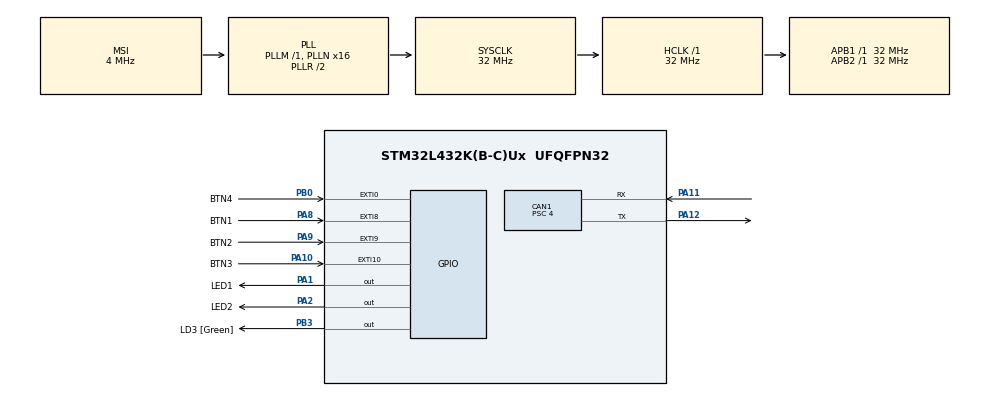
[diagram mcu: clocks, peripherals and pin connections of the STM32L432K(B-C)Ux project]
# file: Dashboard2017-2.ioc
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CAN1.ABOM=ENABLE
CAN1.BS1=CAN_BS1_9TQ
CAN1.BS2=CAN_BS2_6TQ
CAN1.CalculateTimeBit=2000
CAN1.CalculateTimeQuantum=125.0
CAN1.Prescaler=4
FREERTOS.Tasks01=defaultTask,0,128,StartDefaultTask,Default,NULL
Mcu.Family=STM32L4
Mcu.Name=STM32L432K(B-C)Ux
Mcu.Package=UFQFPN32
NVIC.CAN1_RX0_IRQn=true\:5\:0\:false\:false\:true\:true
NVIC.CAN1_RX1_IRQn=true\:5\:0\:false\:false\:true\:true
NVIC.CAN1_TX_IRQn=true\:5\:0\:false\:false\:true\:true
NVIC.EXTI0_IRQn=true\:5\:0\:false\:false\:true\:true
NVIC.EXTI15_10_IRQn=true\:5\:0\:false\:false\:true\:true
NVIC.EXTI9_5_IRQn=true\:5\:0\:false\:false\:true\:true
NVIC.PriorityGroup=NVIC_PRIORITYGROUP_4
NVIC.TIM1_UP_TIM16_IRQn=true\:0\:0\:false\:false\:true\:false
NVIC.TimeBase=TIM1_UP_TIM16_IRQn
NVIC.TimeBaseIP=TIM1
PA0.GPIO_Label=MCO [High speed clock in]
PA0.Signal=RCC_CK_IN
PA1.GPIO_Label=LED1
PA1.Signal=GPIO_Output
PA10.GPIO_Label=BTN3
PA10.Signal=GPXTI10
PA11.Mode=Master
PA11.Signal=CAN1_RX
PA12.Mode=Master
PA12.Signal=CAN1_TX
PA13\ (JTMS-SWDIO).GPIO_Label=SWDIO
PA13\ (JTMS-SWDIO).Mode=Serial_Wire
PA13\ (JTMS-SWDIO).Signal=SYS_JTMS-SWDIO
PA14\ (JTCK-SWCLK).GPIO_Label=SWCLK
PA14\ (JTCK-SWCLK).Mode=Serial_Wire
PA14\ (JTCK-SWCLK).Signal=SYS_JTCK-SWCLK
PA15\ (JTDI).GPIO_Label=VCP_RX
PA15\ (JTDI).Signal=USART2_RX
PA2.GPIO_Label=LED2
PA2.Signal=GPIO_Output
PA8.GPIO_Label=BTN1
PA8.Signal=GPXTI8
PA9.GPIO_Label=BTN2
PA9.Signal=GPXTI9
PB0.GPIO_Label=BTN4
PB0.Signal=GPXTI0
PB3\ (JTDO-TRACESWO).GPIO_Label=LD3 [Green]
PB3\ (JTDO-TRACESWO).Signal=GPIO_Output
PC14-OSC32_IN\ (PC14).Signal=RCC_OSC32_IN
PC15-OSC32_OUT\ (PC15).Signal=RCC_OSC32_OUT
ProjectManager.HeapSize=0x2000
ProjectManager.StackSize=0x4000
ProjectManager.TargetToolchain=SW4STM32
RCC.ADCFreq_Value=64000000
RCC.AHBFreq_Value=32000000
RCC.APB1Freq_Value=32000000
RCC.APB1TimFreq_Value=32000000
RCC.APB2Freq_Value=32000000
RCC.APB2TimFreq_Value=32000000
RCC.CortexFreq_Value=32000000
RCC.HCLKFreq_Value=32000000
RCC.HSE_VALUE=8000000
RCC.HSI16_VALUE=16000000
RCC.HSI48_VALUE=48000000
RCC.HSI_VALUE=16000000
RCC.LSE_VALUE=32768
RCC.MSI_VALUE=4000000
RCC.PLLMUL=RCC_PLLMUL_4
RCC.PLLN=16
RCC.PLLR=RCC_PLLR_DIV8
RCC.PLLSourceVirtual=RCC_PLLSOURCE_HSI
RCC.SYSCLKFreq_VALUE=32000000
RCC.SYSCLKSource=RCC_SYSCLKSOURCE_PLLCLK
RCC.USBFreq_Value=64000000
RCC.VCOOutputFreq_Value=256000000
VP_FREERTOS_VS_ENABLE.Mode=Enabled
VP_SYS_VS_tim1.Mode=TIM1
board=NUCLEO-L432KC

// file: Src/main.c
/**
  ******************************************************************************
  * File Name          : main.c
  * Description        : Main program body
  ******************************************************************************
  * This notice applies to any and all portions of this file
  * that are not between comment pairs USER CODE BEGIN and
  * USER CODE END. Other portions of this file, whether
  * inserted by the user or by software development tools
  * are owned by their respective copyright owners.
  *
  * Copyright (c) 2017 STMicroelectronics International N.V.
  * All rights reserved.
  *
  * Redistribution and use in source and binary forms, with or without
  * modification, are permitted, provided that the following conditions are met:
  *
  * 1. Redistribution of source code must retain the above copyright notice,
  *    this list of conditions and the following disclaimer.
  * 2. Redistributions in binary form must reproduce the above copyright notice,
  *    this list of conditions and the following disclaimer in the documentation
  *    and/or other materials provided with the distribution.
  * 3. Neither the name of STMicroelectronics nor the names of other
  *    contributors to this software may be used to endorse or promote products
  *    derived from this software without specific written permission.
  * 4. This software, including modifications and/or derivative works of this
  *    software, must execute solely and exclusively on microcontroller or
  *    microprocessor devices manufactured by or for STMicroelectronics.
  * 5. Redistribution and use of this software other than as permitted under
  *    this license is void and will automatically terminate your rights under
  *    this license.
  *
  * THIS SOFTWARE IS PROVIDED BY STMICROELECTRONICS AND CONTRIBUTORS "AS IS"
  * AND ANY EXPRESS, IMPLIED OR STATUTORY WARRANTIES, INCLUDING, BUT NOT
  * LIMITED TO, THE IMPLIED WARRANTIES OF MERCHANTABILITY, FITNESS FOR A
  * PARTICULAR PURPOSE AND NON-INFRINGEMENT OF THIRD PARTY INTELLECTUAL PROPERTY
  * RIGHTS ARE DISCLAIMED TO THE FULLEST EXTENT PERMITTED BY LAW. IN NO EVENT
  * SHALL STMICROELECTRONICS OR CONTRIBUTORS BE LIABLE FOR ANY DIRECT, INDIRECT,
  * INCIDENTAL, SPECIAL, EXEMPLARY, OR CONSEQUENTIAL DAMAGES (INCLUDING, BUT NOT
  * LIMITED TO, PROCUREMENT OF SUBSTITUTE GOODS OR SERVICES; LOSS OF USE, DATA,
  * OR PROFITS; OR BUSINESS INTERRUPTION) HOWEVER CAUSED AND ON ANY THEORY OF
  * LIABILITY, WHETHER IN CONTRACT, STRICT LIABILITY, OR TORT (INCLUDING
  * NEGLIGENCE OR OTHERWISE) ARISING IN ANY WAY OUT OF THE USE OF THIS SOFTWARE,
  * EVEN IF ADVISED OF THE POSSIBILITY OF SUCH DAMAGE.
  *
  ******************************************************************************
  */
#include "main.h"
#include "stm32l4xx_hal.h"
#include "cmsis_os.h"

CAN_HandleTypeDef hcan1;

osThreadId defaultTaskHandle;

/* USER CODE BEGIN PV */
/* Private variables ---------------------------------------------------------*/
QueueHandle_t q_txcan;
QueueHandle_t q_rxcan;
SemaphoreHandle_t m_CAN;
/* USER CODE END PV */

void SystemClock_Config(void);
static void MX_GPIO_Init(void);
static void MX_CAN1_Init(void);
void StartDefaultTask(void const * argument);

/* USER CODE BEGIN PFP */
/* Private function prototypes -----------------------------------------------*/

/* USER CODE END PFP */

/* USER CODE BEGIN 0 */
int i;
void taskTest()
{
	for(;;) {
		i ++;
	}
}

void CANFilterConfig()
{

	  CAN_FilterConfTypeDef FilterConf;
	  FilterConf.FilterIdHigh = 	0x205 << 5; // 2
	  FilterConf.FilterIdLow = 		0x200 << 5; // 0
	  FilterConf.FilterMaskIdHigh = 0; //3
	  FilterConf.FilterMaskIdLow = 	0;	//1
	  FilterConf.FilterFIFOAssignment = CAN_FilterFIFO0;
	  FilterConf.FilterNumber = 0;
	  FilterConf.FilterMode = CAN_FILTERMODE_IDMASK;
	  FilterConf.FilterScale = CAN_FILTERSCALE_16BIT;
	  FilterConf.FilterActivation = ENABLE;
	  HAL_CAN_ConfigFilter(&hcan1, &FilterConf);

}

void taskBlink(void* can)
{
	//vTaskDelay(5000); //TESTING1
	while (1)
	{
		CanTxMsgTypeDef tx;
		tx.IDE = CAN_ID_STD;
		tx.RTR = CAN_RTR_DATA;
		tx.StdId = 0x600;
		tx.DLC = 1;
		tx.Data[0] = 1;

		//hcan1.pTxMsg = &tx;
		//HAL_CAN_Transmit_IT(&hcan1);						//transmit staged message

		xQueueSendToBack(q_txcan, &tx, 100);
		vTaskDelay(500);
	}
}

void taskTXCAN()
{
	CanTxMsgTypeDef tx;

	for (;;)
	{
		//check if this task is triggered
		if (xQueuePeek(q_txcan, &tx, portMAX_DELAY) == pdTRUE)
		{
			//check if CAN mutex is available
			if (xSemaphoreTake(m_CAN, 50) == pdTRUE)
			{
				//HAL_CAN_StateTypeDef state = HAL_CAN_GetState(car.phcan);
				//if (state != HAL_CAN_STATE_ERROR)
				{
					xQueueReceive(q_txcan, &tx, portMAX_DELAY);  //actually take item out of queue
					//if (HAL_CAN_GetState(&hcan1) == HAL_CAN_STATE_READY)

					{
						hcan1.pTxMsg = &tx;
						HAL_CAN_Transmit(&hcan1,100);
					}

				}
				xSemaphoreGive(m_CAN);  //release CAN mutex
			}

		}
	}
}

void taskRXCAN()
{
	//CanRxMsgTypeDef rx;
	//car.phcan->pRxMsg = &rx;
	for (;;)
	{

		//check if CAN mutex is available
		//if (xSemaphoreTake(car.m_CAN, 10) == pdTRUE )

		//	xSemaphoreGive(car.m_CAN);  //release CAN mutex

		vTaskSuspend(NULL);
	}
}

void taskRXCANProcess()
{
	CanRxMsgTypeDef rx;  //CanRxMsgTypeDef to be received on the queue
	rx.IDE = CAN_ID_STD;	//test
	while (1)
	{

		//if there is a CanRxMsgTypeDef in the queue, pop it, and store in rx
		if (xQueueReceive(q_rxcan, &rx, portMAX_DELAY) == pdTRUE)
		{
			//A CAN message has been recieved
			//rx.StdId = rx.StdId / 0x100000; test
			//check what kind of message we received
			switch (rx.StdId)
			{
				case 0x200:  //if car status message
				{
					if (rx.Data[0] == 1) //car is in ready to drive
					{
						HAL_GPIO_WritePin(LED2_GPIO_Port, LED2_Pin, GPIO_PIN_RESET);
					}
					else if (rx.Data[0] == 0) //car is not ready to drive
					{
						HAL_GPIO_WritePin(LED2_GPIO_Port, LED2_Pin, GPIO_PIN_SET);
					}
					break;
				}
			}
		}
	}
}
/* USER CODE END 0 */

int main(void)
{

  /* MCU Configuration----------------------------------------------------------*/

  /* Reset of all peripherals, Initializes the Flash interface and the Systick. */
  HAL_Init();

  /* Configure the system clock */
  SystemClock_Config();

  /* Initialize all configured peripherals */
  MX_GPIO_Init();
  MX_CAN1_Init();

  /* USER CODE BEGIN 2 */
  CANFilterConfig();
  m_CAN =			xSemaphoreCreateMutex();
  q_txcan = 		xQueueCreate(3, sizeof(CanTxMsgTypeDef));
  q_rxcan = 		xQueueCreate(3, sizeof(CanRxMsgTypeDef));
  xTaskCreate(taskTXCAN, "TX CAN", 128, NULL, 1, NULL);
  //xTaskCreate(taskRXCAN, "RX CAN", 32, NULL, 1, NULL);
  //xTaskCreate(taskRXCANProcess, "TX CAN Process", 64, NULL, 1, NULL);
  xTaskCreate(taskBlink, "Blink CAN", 64, NULL, 1, NULL);

	HAL_GPIO_WritePin(LED1_GPIO_Port, LED1_Pin, GPIO_PIN_RESET);
	HAL_GPIO_WritePin(LED2_GPIO_Port, LED2_Pin, GPIO_PIN_SET);

	//HAL_CAN_Receive_IT(&hcan1, 0);
	//HAL_CAN_Receive_IT(&hcan1, 1);

  /* USER CODE END 2 */

  /* Create the thread(s) */
  /* definition and creation of defaultTask */
  osThreadDef(defaultTask, StartDefaultTask, osPriorityNormal, 0, 128);
  defaultTaskHandle = osThreadCreate(osThread(defaultTask), NULL);

  /* Start scheduler */
  osKernelStart();

  /* We should never get here as control is now taken by the scheduler */

  /* Infinite loop */
  while (1)
  {

  }

}

/** System Clock Configuration
*/
void SystemClock_Config(void)
{

  RCC_OscInitTypeDef RCC_OscInitStruct;
  RCC_ClkInitTypeDef RCC_ClkInitStruct;

    /**Initializes the CPU, AHB and APB busses clocks
    */
  RCC_OscInitStruct.OscillatorType = RCC_OSCILLATORTYPE_MSI;
  RCC_OscInitStruct.MSIState = RCC_MSI_ON;
  RCC_OscInitStruct.MSICalibrationValue = 0;
  RCC_OscInitStruct.MSIClockRange = RCC_MSIRANGE_6;
  RCC_OscInitStruct.PLL.PLLState = RCC_PLL_ON;
  RCC_OscInitStruct.PLL.PLLSource = RCC_PLLSOURCE_MSI;
  RCC_OscInitStruct.PLL.PLLM = 1;
  RCC_OscInitStruct.PLL.PLLN = 16;
  RCC_OscInitStruct.PLL.PLLP = RCC_PLLP_DIV7;
  RCC_OscInitStruct.PLL.PLLQ = RCC_PLLQ_DIV2;
  RCC_OscInitStruct.PLL.PLLR = RCC_PLLR_DIV2;
  if (HAL_RCC_OscConfig(&RCC_OscInitStruct) != HAL_OK)
  {
    _Error_Handler(__FILE__, __LINE__);
  }

    /**Initializes the CPU, AHB and APB busses clocks
    */
  RCC_ClkInitStruct.ClockType = RCC_CLOCKTYPE_HCLK|RCC_CLOCKTYPE_SYSCLK
                              |RCC_CLOCKTYPE_PCLK1|RCC_CLOCKTYPE_PCLK2;
  RCC_ClkInitStruct.SYSCLKSource = RCC_SYSCLKSOURCE_PLLCLK;
  RCC_ClkInitStruct.AHBCLKDivider = RCC_SYSCLK_DIV1;
  RCC_ClkInitStruct.APB1CLKDivider = RCC_HCLK_DIV1;
  RCC_ClkInitStruct.APB2CLKDivider = RCC_HCLK_DIV1;

  if (HAL_RCC_ClockConfig(&RCC_ClkInitStruct, FLASH_LATENCY_1) != HAL_OK)
  {
    _Error_Handler(__FILE__, __LINE__);
  }

    /**Configure the main internal regulator output voltage
    */
  if (HAL_PWREx_ControlVoltageScaling(PWR_REGULATOR_VOLTAGE_SCALE1) != HAL_OK)
  {
    _Error_Handler(__FILE__, __LINE__);
  }

    /**Configure the Systick interrupt time
    */
  HAL_SYSTICK_Config(HAL_RCC_GetHCLKFreq()/1000);

    /**Configure the Systick
    */
  HAL_SYSTICK_CLKSourceConfig(SYSTICK_CLKSOURCE_HCLK);

  /* SysTick_IRQn interrupt configuration */
  HAL_NVIC_SetPriority(SysTick_IRQn, 15, 0);
}

/* CAN1 init function */
static void MX_CAN1_Init(void)
{

  hcan1.Instance = CAN1;
  hcan1.Init.Prescaler = 4;
  hcan1.Init.Mode = CAN_MODE_NORMAL;
  hcan1.Init.SJW = CAN_SJW_1TQ;
  hcan1.Init.BS1 = CAN_BS1_7TQ;
  hcan1.Init.BS2 = CAN_BS2_8TQ;
  hcan1.Init.TTCM = DISABLE;
  hcan1.Init.ABOM = ENABLE;
  hcan1.Init.AWUM = DISABLE;
  hcan1.Init.NART = DISABLE;
  hcan1.Init.RFLM = DISABLE;
  hcan1.Init.TXFP = DISABLE;
  if (HAL_CAN_Init(&hcan1) != HAL_OK)
  {
    _Error_Handler(__FILE__, __LINE__);
  }

}

/** Configure pins as
        * Analog
        * Input
        * Output
        * EVENT_OUT
        * EXTI
     PA15 (JTDI)   ------> USART2_RX
*/
static void MX_GPIO_Init(void)
{

  GPIO_InitTypeDef GPIO_InitStruct;

  /* GPIO Ports Clock Enable */
  __HAL_RCC_GPIOC_CLK_ENABLE();
  __HAL_RCC_GPIOA_CLK_ENABLE();
  __HAL_RCC_GPIOB_CLK_ENABLE();

  /*Configure GPIO pin Output Level */
  HAL_GPIO_WritePin(GPIOA, LED1_Pin|LED2_Pin, GPIO_PIN_RESET);

  /*Configure GPIO pin Output Level */
  HAL_GPIO_WritePin(LD3_GPIO_Port, LD3_Pin, GPIO_PIN_RESET);

  /*Configure GPIO pins : LED1_Pin LED2_Pin */
  GPIO_InitStruct.Pin = LED1_Pin|LED2_Pin;
  GPIO_InitStruct.Mode = GPIO_MODE_OUTPUT_PP;
  GPIO_InitStruct.Pull = GPIO_NOPULL;
  GPIO_InitStruct.Speed = GPIO_SPEED_FREQ_LOW;
  HAL_GPIO_Init(GPIOA, &GPIO_InitStruct);

  /*Configure GPIO pin : BTN1_Pin */
  GPIO_InitStruct.Pin = BTN1_Pin;
  GPIO_InitStruct.Mode = GPIO_MODE_IT_RISING;
  GPIO_InitStruct.Pull = GPIO_NOPULL;
  HAL_GPIO_Init(BTN1_GPIO_Port, &GPIO_InitStruct);

  /*Configure GPIO pin : VCP_RX_Pin */
  GPIO_InitStruct.Pin = VCP_RX_Pin;
  GPIO_InitStruct.Mode = GPIO_MODE_AF_PP;
  GPIO_InitStruct.Pull = GPIO_NOPULL;
  GPIO_InitStruct.Speed = GPIO_SPEED_FREQ_VERY_HIGH;
  GPIO_InitStruct.Alternate = GPIO_AF3_USART2;
  HAL_GPIO_Init(VCP_RX_GPIO_Port, &GPIO_InitStruct);

  /*Configure GPIO pin : LD3_Pin */
  GPIO_InitStruct.Pin = LD3_Pin;
  GPIO_InitStruct.Mode = GPIO_MODE_OUTPUT_PP;
  GPIO_InitStruct.Pull = GPIO_NOPULL;
  GPIO_InitStruct.Speed = GPIO_SPEED_FREQ_LOW;
  HAL_GPIO_Init(LD3_GPIO_Port, &GPIO_InitStruct);

  /* EXTI interrupt init*/
  HAL_NVIC_SetPriority(EXTI9_5_IRQn, 5, 0);
  HAL_NVIC_EnableIRQ(EXTI9_5_IRQn);

}

/* StartDefaultTask function */
void StartDefaultTask(void const * argument)
{

  for(;;)
  {
    osDelay(1);
  }
}

void HAL_TIM_PeriodElapsedCallback(TIM_HandleTypeDef *htim)
{
  if (htim->Instance == TIM1) {
    HAL_IncTick();
  }
}

void _Error_Handler(char * file, int line)
{
  while(1)
  {
  }
}

/************************ (C) COPYRIGHT STMicroelectronics *****END OF FILE****/
